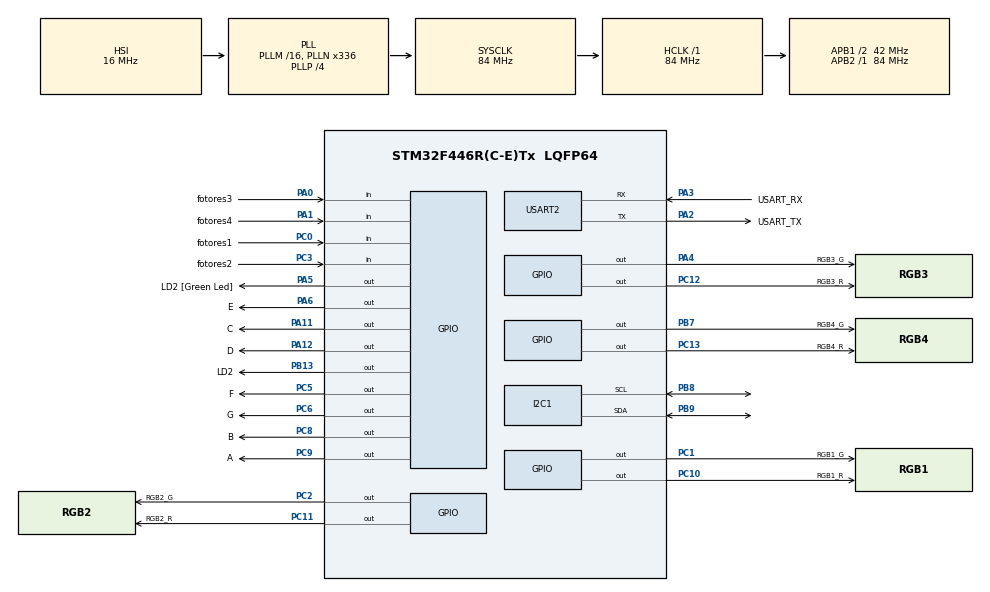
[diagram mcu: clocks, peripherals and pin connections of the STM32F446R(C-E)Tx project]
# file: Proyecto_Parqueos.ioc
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I2C1.OwnAddress=0x46
Mcu.Family=STM32F4
Mcu.Name=STM32F446R(C-E)Tx
Mcu.Package=LQFP64
NVIC.I2C1_ER_IRQn=true\:0\:0\:false\:false\:true\:true\:true\:true
NVIC.I2C1_EV_IRQn=true\:0\:0\:false\:false\:true\:true\:true\:true
NVIC.PriorityGroup=NVIC_PRIORITYGROUP_0
PA0-WKUP.GPIO_Label=fotores3
PA0-WKUP.Signal=GPIO_Input
PA1.GPIO_Label=fotores4
PA1.Signal=GPIO_Input
PA11.GPIO_Label=C
PA11.Signal=GPIO_Output
PA12.GPIO_Label=D
PA12.Signal=GPIO_Output
PA13.GPIO_Label=TMS
PA13.Mode=Serial_Wire
PA13.Signal=SYS_JTMS-SWDIO
PA14.GPIO_Label=TCK
PA14.Mode=Serial_Wire
PA14.Signal=SYS_JTCK-SWCLK
PA2.GPIO_Label=USART_TX
PA2.Mode=Asynchronous
PA2.Signal=USART2_TX
PA3.GPIO_Label=USART_RX
PA3.Mode=Asynchronous
PA3.Signal=USART2_RX
PA4.GPIO_Label=RGB3_G
PA4.Signal=GPIO_Output
PA5.GPIO_Label=LD2 [Green Led]
PA5.Signal=GPIO_Output
PA6.GPIO_Label=E
PA6.Signal=GPIO_Output
PB13.GPIO_Label=LD2
PB13.Signal=GPIO_Output
PB3.GPIO_Label=SWO
PB3.Signal=SYS_JTDO-SWO
PB7.GPIO_Label=RGB4_G
PB7.Signal=GPIO_Output
PB8.Mode=I2C
PB8.Signal=I2C1_SCL
PB9.Mode=I2C
PB9.Signal=I2C1_SDA
PC0.GPIO_Label=fotores1
PC0.Signal=GPIO_Input
PC1.GPIO_Label=RGB1_G
PC1.Signal=GPIO_Output
PC10.GPIO_Label=RGB1_R
PC10.Signal=GPIO_Output
PC11.GPIO_Label=RGB2_R
PC11.Signal=GPIO_Output
PC12.GPIO_Label=RGB3_R
PC12.Signal=GPIO_Output
PC13.GPIO_Label=RGB4_R
PC13.Signal=GPIO_Output
PC14-OSC32_IN.Mode=LSE-External-Oscillator
PC14-OSC32_IN.Signal=RCC_OSC32_IN
PC15-OSC32_OUT.Mode=LSE-External-Oscillator
PC15-OSC32_OUT.Signal=RCC_OSC32_OUT
PC2.GPIO_Label=RGB2_G
PC2.Signal=GPIO_Output
PC3.GPIO_Label=fotores2
PC3.Signal=GPIO_Input
PC5.GPIO_Label=F
PC5.Signal=GPIO_Output
PC6.GPIO_Label=G
PC6.Signal=GPIO_Output
PC8.GPIO_Label=B
PC8.Signal=GPIO_Output
PC9.GPIO_Label=A
PC9.Signal=GPIO_Output
PH0-OSC_IN.Mode=HSE-External-Oscillator
PH0-OSC_IN.Signal=RCC_OSC_IN
PH1-OSC_OUT.Mode=HSE-External-Oscillator
PH1-OSC_OUT.Signal=RCC_OSC_OUT
ProjectManager.HeapSize=0x200
ProjectManager.StackSize=0x400
ProjectManager.TargetToolchain=STM32CubeIDE
RCC.48MHZClocksFreq_Value=84000000
RCC.AHBFreq_Value=84000000
RCC.APB1CLKDivider=RCC_HCLK_DIV2
RCC.APB1Freq_Value=42000000
RCC.APB1TimFreq_Value=84000000
RCC.APB2Freq_Value=84000000
RCC.APB2TimFreq_Value=84000000
RCC.CortexFreq_Value=84000000
RCC.FLatency-AdvancedSettings=FLASH_LATENCY_2
RCC.HCLKFreq_Value=84000000
RCC.HSE_VALUE=8000000
RCC.HSI_VALUE=16000000
RCC.PLLN=336
RCC.PLLP=RCC_PLLP_DIV4
RCC.SYSCLKFreq_VALUE=84000000
RCC.SYSCLKSource=RCC_SYSCLKSOURCE_PLLCLK
RCC.USBFreq_Value=168000000
RCC.VCOOutputFreq_Value=336000000
USART2.VirtualMode=VM_ASYNC
board=NUCLEO-F446RE

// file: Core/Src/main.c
/* USER CODE BEGIN Header */
/**
  ******************************************************************************
  * @file           : main.c
  * @brief          : Main program body
  ******************************************************************************
  * @attention
  *
  * Copyright (c) 2025 STMicroelectronics.
  * All rights reserved.
  *
  * This software is licensed under terms that can be found in the LICENSE file
  * in the root directory of this software component.
  * If no LICENSE file comes with this software, it is provided AS-IS.
  *
  ******************************************************************************
  */
/* USER CODE END Header */
#include "main.h"

I2C_HandleTypeDef hi2c1;

UART_HandleTypeDef huart2;

/* USER CODE BEGIN PV */
// Buffers I2C
#define TXBUFFERSIZE 4
#define RXBUFFERSIZE 4

int count = 0;

uint8_t aTxBuffer[TXBUFFERSIZE];
uint8_t aRxBuffer[RXBUFFERSIZE];

// Estructura para mapear cada segmento con su puerto y pin correspondiente
typedef struct {
    GPIO_TypeDef* port;
    uint16_t pin;
} SegmentPin;

// Definición de cada uno de los 7 segmentos del display
const SegmentPin segment_pins[7] = {
    {GPIOC, A_Pin}, {GPIOC, B_Pin}, {GPIOA, C_Pin},
    {GPIOA, D_Pin}, {GPIOA, E_Pin}, {GPIOC, F_Pin},
    {GPIOC, G_Pin}
};

// Función para mostrar número (0-8) en el display de 7 segmentos
// Encendiendo segmento por segmento de forma manual con retardo
void DisplayNumber(uint8_t number) {
    // Apagar todos los segmentos antes de mostrar un nuevo número
    for (int i = 0; i < 7; ++i) {
        HAL_GPIO_WritePin(segment_pins[i].port, segment_pins[i].pin, GPIO_PIN_RESET);
    }

    // Encender manualmente los segmentos requeridos para el número
    // Se incluye un pequeño retardo entre cada segmento encendido
    switch (number) {
        case 0:
            HAL_GPIO_WritePin(GPIOC, A_Pin, GPIO_PIN_SET);
            HAL_GPIO_WritePin(GPIOC, B_Pin, GPIO_PIN_SET);
            HAL_GPIO_WritePin(GPIOA, C_Pin, GPIO_PIN_SET);
            HAL_GPIO_WritePin(GPIOA, D_Pin, GPIO_PIN_SET);
            HAL_GPIO_WritePin(GPIOA, E_Pin, GPIO_PIN_SET);
            HAL_GPIO_WritePin(GPIOC, F_Pin, GPIO_PIN_SET);
            break;
        case 1:
            HAL_GPIO_WritePin(GPIOC, B_Pin, GPIO_PIN_SET);
            HAL_GPIO_WritePin(GPIOA, C_Pin, GPIO_PIN_SET);
            break;
        case 2:
            HAL_GPIO_WritePin(GPIOC, A_Pin, GPIO_PIN_SET);
            HAL_GPIO_WritePin(GPIOC, B_Pin, GPIO_PIN_SET);
            HAL_GPIO_WritePin(GPIOC, G_Pin, GPIO_PIN_SET);
            HAL_GPIO_WritePin(GPIOA, E_Pin, GPIO_PIN_SET);
            HAL_GPIO_WritePin(GPIOA, D_Pin, GPIO_PIN_SET);
            break;
        case 3:
            HAL_GPIO_WritePin(GPIOC, A_Pin, GPIO_PIN_SET);
            HAL_GPIO_WritePin(GPIOC, B_Pin, GPIO_PIN_SET);
            HAL_GPIO_WritePin(GPIOC, G_Pin, GPIO_PIN_SET);
            HAL_GPIO_WritePin(GPIOA, C_Pin, GPIO_PIN_SET);
            HAL_GPIO_WritePin(GPIOA, D_Pin, GPIO_PIN_SET);
            break;
        case 4:
            HAL_GPIO_WritePin(GPIOC, F_Pin, GPIO_PIN_SET);
            HAL_GPIO_WritePin(GPIOC, G_Pin, GPIO_PIN_SET);
            HAL_GPIO_WritePin(GPIOC, B_Pin, GPIO_PIN_SET);
            HAL_GPIO_WritePin(GPIOA, C_Pin, GPIO_PIN_SET);
            break;
        case 5:
            HAL_GPIO_WritePin(GPIOC, A_Pin, GPIO_PIN_SET);
            HAL_GPIO_WritePin(GPIOC, F_Pin, GPIO_PIN_SET);
            HAL_GPIO_WritePin(GPIOC, G_Pin, GPIO_PIN_SET);
            HAL_GPIO_WritePin(GPIOA, C_Pin, GPIO_PIN_SET);
            HAL_GPIO_WritePin(GPIOA, D_Pin, GPIO_PIN_SET);
            break;
        case 6:
            HAL_GPIO_WritePin(GPIOC, A_Pin, GPIO_PIN_SET);
            HAL_GPIO_WritePin(GPIOC, F_Pin, GPIO_PIN_SET);
            HAL_GPIO_WritePin(GPIOC, G_Pin, GPIO_PIN_SET);
            HAL_GPIO_WritePin(GPIOA, E_Pin, GPIO_PIN_SET);
            HAL_GPIO_WritePin(GPIOA, D_Pin, GPIO_PIN_SET);
            HAL_GPIO_WritePin(GPIOA, C_Pin, GPIO_PIN_SET);
            break;
        case 7:
            HAL_GPIO_WritePin(GPIOC, A_Pin, GPIO_PIN_SET);
            HAL_GPIO_WritePin(GPIOC, B_Pin, GPIO_PIN_SET);
            HAL_GPIO_WritePin(GPIOA, C_Pin, GPIO_PIN_SET);
            break;
        case 8:
            HAL_GPIO_WritePin(GPIOC, A_Pin, GPIO_PIN_SET);
            HAL_GPIO_WritePin(GPIOC, B_Pin, GPIO_PIN_SET);
            HAL_GPIO_WritePin(GPIOA, C_Pin, GPIO_PIN_SET);
            HAL_GPIO_WritePin(GPIOA, D_Pin, GPIO_PIN_SET);
            HAL_GPIO_WritePin(GPIOA, E_Pin, GPIO_PIN_SET);
            HAL_GPIO_WritePin(GPIOC, F_Pin, GPIO_PIN_SET);
            HAL_GPIO_WritePin(GPIOC, G_Pin, GPIO_PIN_SET);
            break;
        default:
            break;
    }
}

// Función: Lee el valor de cada fotoresistencia, actualiza LEDs RGB, envía datos por I2C y actualiza display
void CheckLDRs(void) {
    uint8_t valorFotores;
    uint8_t green_count_local = 0;

    valorFotores = HAL_GPIO_ReadPin(GPIOC, fotores1_Pin);
    if (valorFotores) {
        HAL_GPIO_WritePin(GPIOC, RGB1_R_Pin, GPIO_PIN_SET);
        HAL_GPIO_WritePin(GPIOC, RGB1_G_Pin, GPIO_PIN_RESET);
    } else {
        HAL_GPIO_WritePin(GPIOC, RGB1_R_Pin, GPIO_PIN_RESET);
        HAL_GPIO_WritePin(GPIOC, RGB1_G_Pin, GPIO_PIN_SET);
        green_count_local++;
    }

    valorFotores = HAL_GPIO_ReadPin(GPIOC, fotores2_Pin);
    if (valorFotores) {
        HAL_GPIO_WritePin(GPIOC, RGB2_R_Pin, GPIO_PIN_SET);
        HAL_GPIO_WritePin(GPIOC, RGB2_G_Pin, GPIO_PIN_RESET);
    } else {
        HAL_GPIO_WritePin(GPIOC, RGB2_R_Pin, GPIO_PIN_RESET);
        HAL_GPIO_WritePin(GPIOC, RGB2_G_Pin, GPIO_PIN_SET);
        green_count_local++;
    }

    valorFotores = HAL_GPIO_ReadPin(GPIOA, fotores3_Pin);
    if (valorFotores) {
        HAL_GPIO_WritePin(GPIOC, RGB3_R_Pin, GPIO_PIN_SET);
        HAL_GPIO_WritePin(GPIOA, RGB3_G_Pin, GPIO_PIN_RESET);
    } else {
        HAL_GPIO_WritePin(GPIOC, RGB3_R_Pin, GPIO_PIN_RESET);
        HAL_GPIO_WritePin(GPIOA, RGB3_G_Pin, GPIO_PIN_SET);
        green_count_local++;
    }

    valorFotores = HAL_GPIO_ReadPin(GPIOA, fotores4_Pin);
    if (valorFotores) {
        HAL_GPIO_WritePin(GPIOC, RGB4_R_Pin, GPIO_PIN_SET);
        HAL_GPIO_WritePin(GPIOB, RGB4_G_Pin, GPIO_PIN_RESET);
    } else {
        HAL_GPIO_WritePin(GPIOC, RGB4_R_Pin, GPIO_PIN_RESET);
        HAL_GPIO_WritePin(GPIOB, RGB4_G_Pin, GPIO_PIN_SET);
        green_count_local++;
    }

    aTxBuffer[0] = green_count_local;

    uint8_t green_count_remote = aRxBuffer[0];
    if (green_count_remote > 4) green_count_remote = 4;

    uint8_t total_green = green_count_local + green_count_remote;
    if (total_green > 8) total_green = 8;

    DisplayNumber(total_green);
}

/* USER CODE END PV */

void SystemClock_Config(void);
static void MX_GPIO_Init(void);
static void MX_USART2_UART_Init(void);
static void MX_I2C1_Init(void);

int main(void)
{

  /* MCU Configuration--------------------------------------------------------*/

  /* Reset of all peripherals, Initializes the Flash interface and the Systick. */
  HAL_Init();

  /* Configure the system clock */
  SystemClock_Config();

  /* Initialize all configured peripherals */
  MX_GPIO_Init();
  MX_USART2_UART_Init();
  MX_I2C1_Init();
  /* USER CODE BEGIN 2 */
  if (HAL_I2C_EnableListen_IT(&hi2c1) != HAL_OK) {
  	  Error_Handler();
    }

  /* USER CODE END 2 */

  /* Infinite loop */
  while (1)
  {

    /* USER CODE BEGIN 3 */
	  CheckLDRs();
	  HAL_Delay(100);
  }
  /* USER CODE END 3 */
}

void SystemClock_Config(void)
{
  RCC_OscInitTypeDef RCC_OscInitStruct = {0};
  RCC_ClkInitTypeDef RCC_ClkInitStruct = {0};

  /** Configure the main internal regulator output voltage
  */
  __HAL_RCC_PWR_CLK_ENABLE();
  __HAL_PWR_VOLTAGESCALING_CONFIG(PWR_REGULATOR_VOLTAGE_SCALE3);

  /** Initializes the RCC Oscillators according to the specified parameters
  * in the RCC_OscInitTypeDef structure.
  */
  RCC_OscInitStruct.OscillatorType = RCC_OSCILLATORTYPE_HSI;
  RCC_OscInitStruct.HSIState = RCC_HSI_ON;
  RCC_OscInitStruct.HSICalibrationValue = RCC_HSICALIBRATION_DEFAULT;
  RCC_OscInitStruct.PLL.PLLState = RCC_PLL_ON;
  RCC_OscInitStruct.PLL.PLLSource = RCC_PLLSOURCE_HSI;
  RCC_OscInitStruct.PLL.PLLM = 16;
  RCC_OscInitStruct.PLL.PLLN = 336;
  RCC_OscInitStruct.PLL.PLLP = RCC_PLLP_DIV4;
  RCC_OscInitStruct.PLL.PLLQ = 2;
  RCC_OscInitStruct.PLL.PLLR = 2;
  if (HAL_RCC_OscConfig(&RCC_OscInitStruct) != HAL_OK)
  {
    Error_Handler();
  }

  /** Initializes the CPU, AHB and APB buses clocks
  */
  RCC_ClkInitStruct.ClockType = RCC_CLOCKTYPE_HCLK|RCC_CLOCKTYPE_SYSCLK
                              |RCC_CLOCKTYPE_PCLK1|RCC_CLOCKTYPE_PCLK2;
  RCC_ClkInitStruct.SYSCLKSource = RCC_SYSCLKSOURCE_PLLCLK;
  RCC_ClkInitStruct.AHBCLKDivider = RCC_SYSCLK_DIV1;
  RCC_ClkInitStruct.APB1CLKDivider = RCC_HCLK_DIV2;
  RCC_ClkInitStruct.APB2CLKDivider = RCC_HCLK_DIV1;

  if (HAL_RCC_ClockConfig(&RCC_ClkInitStruct, FLASH_LATENCY_2) != HAL_OK)
  {
    Error_Handler();
  }
}

static void MX_I2C1_Init(void)
{

  hi2c1.Instance = I2C1;
  hi2c1.Init.ClockSpeed = 100000;
  hi2c1.Init.DutyCycle = I2C_DUTYCYCLE_2;
  hi2c1.Init.OwnAddress1 = 140;
  hi2c1.Init.AddressingMode = I2C_ADDRESSINGMODE_7BIT;
  hi2c1.Init.DualAddressMode = I2C_DUALADDRESS_DISABLE;
  hi2c1.Init.OwnAddress2 = 0;
  hi2c1.Init.GeneralCallMode = I2C_GENERALCALL_DISABLE;
  hi2c1.Init.NoStretchMode = I2C_NOSTRETCH_DISABLE;
  if (HAL_I2C_Init(&hi2c1) != HAL_OK)
  {
    Error_Handler();
  }

}

static void MX_USART2_UART_Init(void)
{

  huart2.Instance = USART2;
  huart2.Init.BaudRate = 115200;
  huart2.Init.WordLength = UART_WORDLENGTH_8B;
  huart2.Init.StopBits = UART_STOPBITS_1;
  huart2.Init.Parity = UART_PARITY_NONE;
  huart2.Init.Mode = UART_MODE_TX_RX;
  huart2.Init.HwFlowCtl = UART_HWCONTROL_NONE;
  huart2.Init.OverSampling = UART_OVERSAMPLING_16;
  if (HAL_UART_Init(&huart2) != HAL_OK)
  {
    Error_Handler();
  }

}

static void MX_GPIO_Init(void)
{
  GPIO_InitTypeDef GPIO_InitStruct = {0};

  /* GPIO Ports Clock Enable */
  __HAL_RCC_GPIOC_CLK_ENABLE();
  __HAL_RCC_GPIOH_CLK_ENABLE();
  __HAL_RCC_GPIOA_CLK_ENABLE();
  __HAL_RCC_GPIOB_CLK_ENABLE();

  /*Configure GPIO pin Output Level */
  HAL_GPIO_WritePin(GPIOC, RGB4_R_Pin|RGB1_G_Pin|RGB2_G_Pin|F_Pin
                          |G_Pin|B_Pin|A_Pin|RGB1_R_Pin
                          |RGB2_R_Pin|RGB3_R_Pin, GPIO_PIN_RESET);

  /*Configure GPIO pin Output Level */
  HAL_GPIO_WritePin(GPIOA, RGB3_G_Pin|LD2_Pin|E_Pin|C_Pin
                          |D_Pin, GPIO_PIN_RESET);

  /*Configure GPIO pin Output Level */
  HAL_GPIO_WritePin(GPIOB, LD2B13_Pin|RGB4_G_Pin, GPIO_PIN_RESET);

  /*Configure GPIO pins : RGB4_R_Pin RGB1_G_Pin RGB2_G_Pin F_Pin
                           G_Pin B_Pin A_Pin RGB1_R_Pin
                           RGB2_R_Pin RGB3_R_Pin */
  GPIO_InitStruct.Pin = RGB4_R_Pin|RGB1_G_Pin|RGB2_G_Pin|F_Pin
                          |G_Pin|B_Pin|A_Pin|RGB1_R_Pin
                          |RGB2_R_Pin|RGB3_R_Pin;
  GPIO_InitStruct.Mode = GPIO_MODE_OUTPUT_PP;
  GPIO_InitStruct.Pull = GPIO_NOPULL;
  GPIO_InitStruct.Speed = GPIO_SPEED_FREQ_LOW;
  HAL_GPIO_Init(GPIOC, &GPIO_InitStruct);

  /*Configure GPIO pins : fotores1_Pin fotores2_Pin */
  GPIO_InitStruct.Pin = fotores1_Pin|fotores2_Pin;
  GPIO_InitStruct.Mode = GPIO_MODE_INPUT;
  GPIO_InitStruct.Pull = GPIO_NOPULL;
  HAL_GPIO_Init(GPIOC, &GPIO_InitStruct);

  /*Configure GPIO pins : fotores3_Pin fotores4_Pin */
  GPIO_InitStruct.Pin = fotores3_Pin|fotores4_Pin;
  GPIO_InitStruct.Mode = GPIO_MODE_INPUT;
  GPIO_InitStruct.Pull = GPIO_NOPULL;
  HAL_GPIO_Init(GPIOA, &GPIO_InitStruct);

  /*Configure GPIO pins : RGB3_G_Pin LD2_Pin E_Pin C_Pin
                           D_Pin */
  GPIO_InitStruct.Pin = RGB3_G_Pin|LD2_Pin|E_Pin|C_Pin
                          |D_Pin;
  GPIO_InitStruct.Mode = GPIO_MODE_OUTPUT_PP;
  GPIO_InitStruct.Pull = GPIO_NOPULL;
  GPIO_InitStruct.Speed = GPIO_SPEED_FREQ_LOW;
  HAL_GPIO_Init(GPIOA, &GPIO_InitStruct);

  /*Configure GPIO pins : LD2B13_Pin RGB4_G_Pin */
  GPIO_InitStruct.Pin = LD2B13_Pin|RGB4_G_Pin;
  GPIO_InitStruct.Mode = GPIO_MODE_OUTPUT_PP;
  GPIO_InitStruct.Pull = GPIO_NOPULL;
  GPIO_InitStruct.Speed = GPIO_SPEED_FREQ_LOW;
  HAL_GPIO_Init(GPIOB, &GPIO_InitStruct);

}

/* USER CODE BEGIN 4 */
void HAL_I2C_ListenCpltCallback(I2C_HandleTypeDef *hi2c) {
	HAL_I2C_EnableListen_IT(hi2c);
}

void HAL_I2C_SlaveTxCpltCallback(I2C_HandleTypeDef *I2cHandle) {
	/*GPIO_PinState led_state = HAL_GPIO_ReadPin(LD2_GPIO_Port, LD2_Pin);

	    aTxBuffer[0] = (led_state == GPIO_PIN_SET) ? 1 : 0;*/

	aTxBuffer[0]++;
	aTxBuffer[1]++;
	aTxBuffer[2]++;
	aTxBuffer[3]++;
}

void HAL_I2C_SlaveRxCpltCallback(I2C_HandleTypeDef *I2cHnadle) {
	HAL_UART_Transmit(&huart2, aRxBuffer, 4, 1000);
	if(aRxBuffer[0] == 'S'){
		HAL_GPIO_TogglePin(LD2_GPIO_Port, LD2_Pin);
	}
}

void HAL_I2C_AddrCallback(I2C_HandleTypeDef *hi2c, uint8_t TransferDirection, uint16_t AddrMatchCode){
	if (TransferDirection == I2C_DIRECTION_TRANSMIT){
		if (HAL_I2C_Slave_Seq_Receive_IT(&hi2c1, (uint8_t*) aRxBuffer,
				RXBUFFERSIZE, I2C_FIRST_AND_LAST_FRAME) !=HAL_OK) {
			Error_Handler();
		}
	} else if (TransferDirection == I2C_DIRECTION_RECEIVE) {
		if (HAL_I2C_Slave_Seq_Transmit_IT(&hi2c1, (uint8_t*) aTxBuffer, 4, I2C_FIRST_AND_LAST_FRAME) != HAL_OK){
			Error_Handler();
		}
	}
}

/* USER CODE END 4 */

void Error_Handler(void)
{
  __disable_irq();
  while (1)
  {
  }
}
